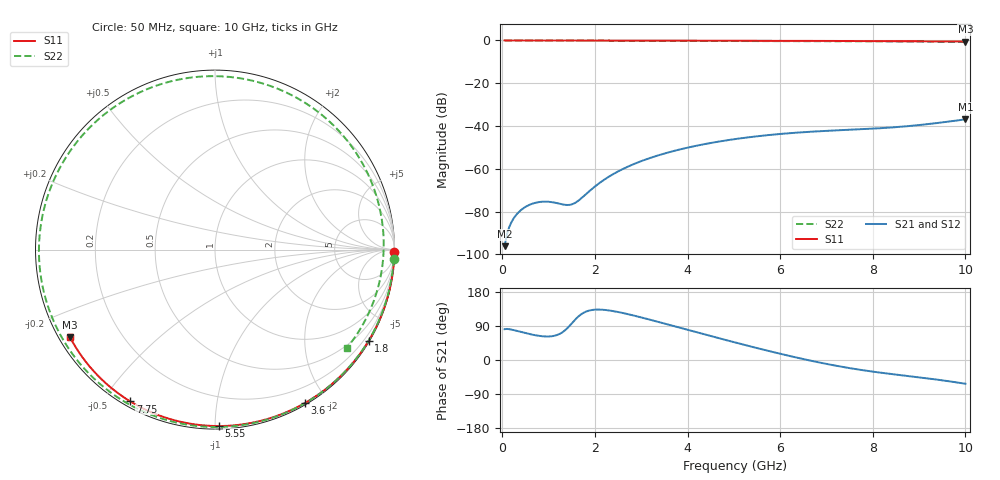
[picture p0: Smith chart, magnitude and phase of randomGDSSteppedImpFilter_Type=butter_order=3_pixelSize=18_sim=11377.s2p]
! freq	dB(S11)	phase(S11)	dB(S12)	phase(S12)
!  dB(S21)	phase(S21)	dB(S22)	phase(S22)
!S-par simulation data
#  GHz  S  DB  R 50
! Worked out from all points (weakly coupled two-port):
!   200 points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, 50 MHz to 10 GHz, reference 50 ohm
!   highest |S21| = -36.89 dB at 10 GHz (marker M1); lowest = -96.2 dB at 50 MHz (marker M2)
!   lowest |S11| = -0.5 dB at 10 GHz (marker M3), VSWR 34.60, Z = 1.56 - j13.9 ohm
!   |S11| at or under -10 dB: nowhere
!   |S22| runs from -0.8 to 0.0 dB; largest |S21 - S12| = 0
!   S11 on the Smith chart (normalised r, x): 50 MHz: open; 1.8 GHz: 0.03, -3.65; 3.6 GHz: 0.02, -1.74; 5.55 GHz: 0.02, -1.02; 7.75 GHz: 0.02, -0.59; 10 GHz: 0.03, -0.28
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0.05  -0.00 -0.9  -96.21 81.3  -96.21 81.3  -0.01 -3.0
0.35  -0.01 -6.0  -80.39 75.7  -80.39 75.7  -0.04 -21.4
0.45  -0.01 -7.7  -78.56 72.6  -78.56 72.6  -0.04 -27.5
0.7  -0.02 -12.0  -76.02 65.6  -76.02 65.6  -0.05 -42.3
0.95  -0.02 -16.3  -75.38 62.0  -75.38 62.0  -0.07 -56.6
1.45  -0.03 -24.8  -76.90 89.8  -76.90 89.8  -0.09 -83.2
1.75  -0.04 -29.8  -72.99 124.2  -72.99 124.2  -0.10 -97.8
1.8  -0.04 -30.6  -72.02 127.3  -72.02 127.3  -0.11 -100.1
2.5  -0.05 -42.2  -61.26 126.7  -61.26 126.7  -0.13 -130.3
2.95  -0.06 -49.4  -56.86 113.9  -56.86 113.9  -0.14 -147.7
3.4  -0.08 -56.6  -53.52 99.5  -53.52 99.5  -0.15 -164.0
3.6  -0.08 -59.7  -52.28 93.0  -52.28 93.0  -0.16 -170.9
4.3  -0.10 -70.4  -48.77 69.9  -48.77 69.9  -0.18 165.6
5.05  -0.13 -81.6  -46.05 45.6  -46.05 45.6  -0.22 141.0
5.55  -0.15 -88.8  -44.70 30.0  -44.70 30.0  -0.24 124.5
6.15  -0.17 -97.3  -43.46 12.2  -43.46 12.2  -0.27 104.2
6.7  -0.20 -105.0  -42.63 -2.8  -42.63 -2.8  -0.31 85.1
7.2  -0.24 -111.8  -42.07 -15.0  -42.07 -15.0  -0.34 67.1
7.75  -0.28 -119.1  -41.51 -26.3  -41.51 -26.3  -0.38 46.9
8.35  -0.33 -127.1  -40.78 -36.2  -40.78 -36.2  -0.45 24.5
9.15  -0.40 -137.6  -39.22 -48.0  -39.22 -48.0  -0.57 -5.5
10  -0.50 -148.8  -36.89 -62.8  -36.89 -62.8  -0.76 -36.6
